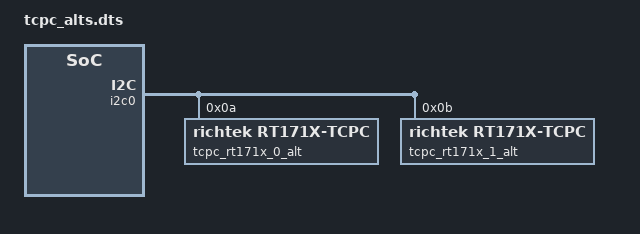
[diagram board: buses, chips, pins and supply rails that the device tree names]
/* Copyright 2023 The ChromiumOS Authors
 * Use of this source code is governed by a BSD-style license that can be
 * found in the LICENSE file.
 */

 /* Define nodes with the "is-alt" property set. Used by the TCPC shim
  * test to validate the runtime replacement of the TCPC driver.
  */

#include <dt-bindings/usb_pd_tcpm.h>

&i2c0 {
	#address-cells = <1>;
	#size-cells = <0>;
	status = "okay";

	tcpc_rt171x_0_alt: tcpc-rt171x-0-alt@a{
		compatible = "richtek,rt171x-tcpc";
		reg = <0xa>;
		tcpc-flags = <(
			TCPC_FLAGS_TCPCI_REV2_0 |
			TCPC_FLAGS_VBUS_MONITOR)>;
		is-alt;
	};

	tcpc_rt171x_1_alt: tcpc-rt171x-0_alt@b{
		compatible = "richtek,rt171x-tcpc";
		reg = <0xb>;
		tcpc-flags = <(TCPC_FLAGS_TCPCI_REV2_0)>;
		is-alt;
	};
};
